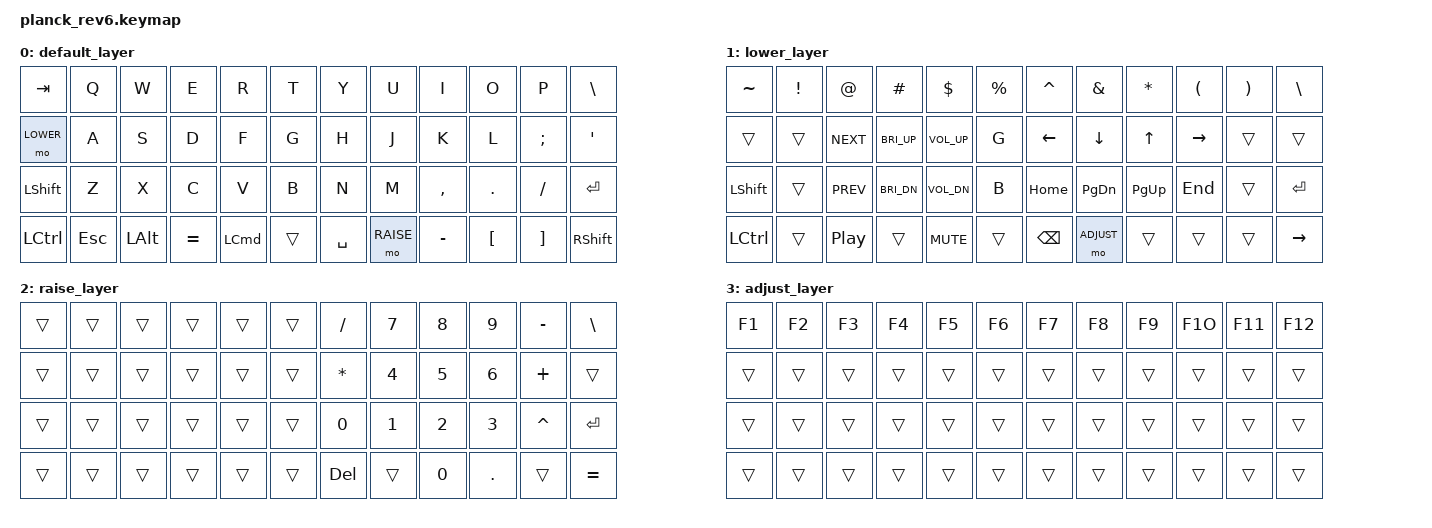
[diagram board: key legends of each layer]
#include <behaviors.dtsi>
#include <dt-bindings/zmk/keys.h>

/ {
	keymap {
		compatible = "zmk,keymap";

		default_layer {
// -----------------------------------------------------------------------------------------
// | TAB   |  Q   |  W   |  E   |  R   |  T   |   Y   |  U    |  I   |  O   |   P   |  \    |
// | LOWER |  A   |  S   |  D   |  F   |  G   |   H   |  J    |  K   |  L   |   ;   |  '    |
// | LSHFT |  Z   |  X   |  C   |  V   |  B   |   N   |  M    |  ,   |  .   |   /   | RET   |
// | LCTL  |  ESC | LALT |  =   | LCMD |     SPACE    |  RAIS |  -   |  [   |   ]   | RSHFT |
			bindings = <
	&kp TAB   &kp Q   &kp W    &kp E     &kp R  	&kp T  &kp Y     &kp U  	  &kp I     &kp O    &kp P    &kp BSLH
	&mo LOWER &kp A   &kp S    &kp D     &kp F  	&kp G  &kp H     &kp J  	  &kp K     &kp L    &kp SEMI &kp SQT
	&kp LSHFT &kp Z   &kp X    &kp C     &kp V  	&kp B  &kp N     &kp M  	  &kp COMMA &kp DOT  &kp FSLH &kp RET
	&kp LCTRL &kp ESC	&kp LALT &kp EQUAL &kp LCMD	&trans &kp SPACE &mo RAISE	&kp MINUS &kp LBKT &kp RBKT &kp RSHFT
			>;
		};
		lower_layer {
// -----------------------------------------------------------------------------------------
// |   `   |  !   |  @   |  #     |  $     |  %   |   ^   |  &    |  *   |  (   |   )   |  \    |
// |<LAYER>|      |C_NEXT|C_BRI_UP|C_VOL_UP|      |  LEFT |  DOWN | UP   | RIGHT|       |       |
// | LSHFT |      |C_PREV|C_BRI_DN|C_VOL_DN|      |  HOME | PG_DN | PG_UP|  END |       | RET   |
// | LCTL  |      | C_PP |        |C_MUTE  |    BACKSPACE | ADJUST|      |      |       | RSHFT |
			bindings = <
	&kp TILDE 	&kp EXCL 	&kp AT 		  &kp HASH 		  &kp DLLR 		  &kp PRCNT	&kp CARET &kp AMPS  	&kp ASTRK &kp LPAR 	&kp RPAR  &kp BSLH
	&trans	  	&trans   	&kp C_NEXT	&kp C_BRI_UP	&kp C_VOL_UP  &kp G     &kp LEFT  &kp DOWN  	&kp UP    &kp RIGHT	&trans    &trans
	&kp LSHFT 	&trans 	  &kp C_PREV 	&kp C_BRI_DN	&kp C_VOL_DN  &kp B     &kp HOME  &kp PG_DN 	&kp PG_UP &kp END   &trans		&kp RET
	&kp LCTRL  	&trans		&kp C_PP	  &trans			  &kp C_MUTE 		&trans    &kp BSPC  &mo ADJUST	&trans	  &trans   	&trans	  &kp RIGHT
			>;
		};
		raise_layer {
// -----------------------------------------------------------------------------------------
// |       |      |      |        |        |      |   /   |   N7  |  N8  |  N9  |   -   |       |
// |<LAYER>|      |	  	 |        |        |      |   *   |   N4  |  N5  |  N6  |   +   |       |
// | LSHFT |      |      |        |        |      |  N0   |   N1  |  N2  |  N3  |   ^   |   =   |
// |       |      |      |        |        |     DELETE   | ADJUST|  N0  |  .   |       |  RET  |
			bindings = <
	&trans	 	&trans	 	&trans 		&trans 			&trans 		&trans	&kp FSLH 	&kp N7  	&kp N8 		&kp N9	 	&kp MINUS &kp BSLH
	&trans		&trans   	&trans		&trans			&trans		&trans  &kp ASTRK &kp N4  	&kp N5  	&kp N6		&kp PLUS  &trans
	&trans	 	&trans 	  &trans	 	&trans			&trans 		&trans  &kp N0	 	&kp N1	 	&kp N2		&kp N3		&kp CARET	&kp RET
	&trans 		&trans		&trans		&trans			&trans 		&trans  &kp DEL		&trans		&kp N0		&kp DOT		&trans		&kp EQUAL
			>;
		};
		adjust_layer {
// -----------------------------------------------------------------------------------------
// |   F1  |  F2  |  F3  |   F4   |   F5   |  F6  |   F7  |   F8  |  F9  |  F10 |  F11  |  F12  |
// |       |      |		   |        |        |      |       |       |      |      |       |       |
// |       |      |      |        |        |      |       |       |      |      |       |       |
// |       |      |      |        |        |              |       |      |      |       |       |
			bindings = <
	&kp F1 	&kp F2  &kp F3  &kp F4  &kp F5  &kp F6  &kp F7  &kp F8  &kp F9  &kp F1O &kp F11 &kp F12
	&trans	&trans	&trans	&trans	&trans	&trans	&trans	&trans	&trans	&trans	&trans	&trans
	&trans	&trans	&trans	&trans	&trans	&trans	&trans	&trans	&trans	&trans	&trans	&trans
	&trans	&trans	&trans	&trans	&trans	&trans	&trans	&trans	&trans	&trans	&trans	&trans
			>;
		};
	};
};
